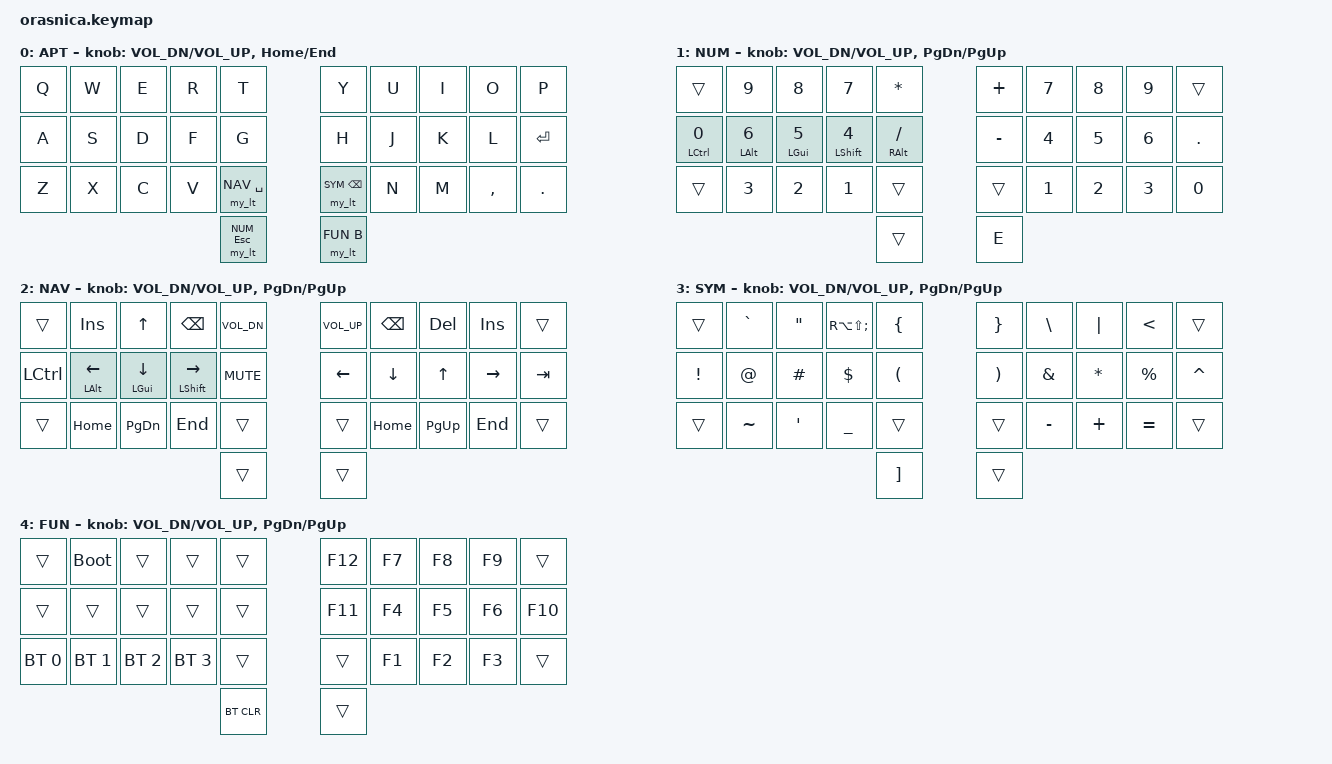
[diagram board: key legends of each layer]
#include <behaviors.dtsi>
#include <dt-bindings/zmk/bt.h>
#include <dt-bindings/zmk/keys.h>

#define APT 0
#define NUM 1
#define NAV 2
#define SYM 3
#define FUN 4

&caps_word { continue-list = <UNDERSCORE MINUS BSPC LSHFT RSHFT>; };

/ {
    macros {
        macro_sch: macro_sch {
            label = "Macro_SCH";
            compatible = "zmk,behavior-macro";
            #binding-cells = <0>;
            bindings = <&macro_tap>, <&kp S &kp C &kp H>;
        };
    };
};

#define COMBO(NAME, BINDINGS, KEYPOS) \
combo_##NAME { \
    timeout-ms = <20>; \
    bindings = <BINDINGS>; \
    key-positions = <KEYPOS>; \
};

/ {
    combos {
        compatible = "zmk,combos";

        COMBO(esc, &kp ESC, 0 1)
        COMBO(tab, &kp TAB, 10 11)
        COMBO(lctrl, &kp LCTRL, 20 21)
        COMBO(lgui, &kp LGUI, 20 30)
    };
};

/ {
    behaviors {
        hl: homerow_mods_left {
            compatible = "zmk,behavior-hold-tap";
            label = "homerow mods left";
            #binding-cells = <2>;

            // flavor = "tap-preferred";

            flavor = "balanced";
            tapping-term-ms = <150>;
            quick-tap-ms = <100>;

            // global-quick-tap;

            bindings = <&kp>, <&kp>;

            // opposite side hand keys

            hold-trigger-key-positions = <5 6 7 8 9 15 16 17 18 19 25 26 27 28 29 30 31>;
        };

        hr: homerow_mods_right {
            compatible = "zmk,behavior-hold-tap";
            label = "homerow mods right";
            #binding-cells = <2>;

            // flavor = "tap-preferred";

            flavor = "balanced";
            tapping-term-ms = <150>;
            quick-tap-ms = <100>;

            // global-quick-tap;

            bindings = <&kp>, <&kp>;

            // opposite side hand keys

            hold-trigger-key-positions = <0 1 2 3 4 10 11 12 13 14 20 21 22 23 24 30 31>;
        };

        my_lt: my_layer_taps {
            compatible = "zmk,behavior-hold-tap";
            label = "my layer taps";
            #binding-cells = <2>;

            // flavor = "tap-preferred";

            flavor = "balanced";
            tapping-term-ms = <150>;
            quick-tap-ms = <100>;

            // global-quick-tap;

            bindings = <&mo &kp>, <&kp>;

            // non-thumb keys
            // hold-trigger-key-positions = <0 1 2 3 4 5 6 7 8 9 10 11 12 13 14 15 16 17 18 19 20 21 22 23 24 25>;
        };

        //   ____________________________  ____________________________
        //  / 0  |  1  |  2  |  3  |  4  \/   5 |   6 |   7 |   8 | 9  \
// | 10  | 11  | 12  | 13  | 14  /\  15 |  16 |  17 |  18 | 19  |
        // | 20  | 21  | 22  | 23  | 24 /  \ 25 |  26 |  27 |  28 | 29  |
        //            \  30  /    		      \  30  /
        //                       ------      ------

        dotcol: dot_colon {
            compatible = "zmk,behavior-mod-morph";
            label = "DOT_COL";
            #binding-cells = <0>;
            bindings = <&kp DOT>, <&kp COLON>;

            mods = <(MOD_LSFT|MOD_RSFT)>;
        };

        comsem: comma_semicolon {
            compatible = "zmk,behavior-mod-morph";
            label = "COM_SEM";
            #binding-cells = <0>;
            bindings = <&kp COMMA>, <&kp SEMI>;

            mods = <(MOD_LSFT|MOD_RSFT)>;
        };
    };
};

&encoder { status = "okay"; };

&encoder2 { status = "okay"; };

/ {
    keymap {
        compatible = "zmk,keymap";

        aptmak {
            label = "APT";
            bindings = <
&kp Q  &kp W  &kp E           &kp R  &kp T             &kp Y                 &kp U  &kp I         &kp O      &kp P
&kp A  &kp S  &kp D           &kp F  &kp G             &kp H                 &kp J  &kp K         &kp L      &kp ENTER
&kp Z  &kp X  &kp C           &kp V  &my_lt NAV SPACE  &my_lt SYM BACKSPACE  &kp N  &kp M         &kp COMMA  &kp PERIOD
              &my_lt NUM ESC                                                        &my_lt FUN B
            >;

            sensor-bindings =
                <&inc_dec_kp C_VOL_DN C_VOL_UP>,
                <&inc_dec_kp HOME END>;
        };

        numbers {
            label = "NUM";
            bindings = <
&trans        &kp N9       &kp N8       &kp N7        &kp ASTERISK    &kp PLUS   &kp N7  &kp N8  &kp N9  &trans
&hl LCTRL N0  &hl LALT N6  &hl LGUI N5  &hl LSHFT N4  &hl RALT SLASH  &kp MINUS  &kp N4  &kp N5  &kp N6  &kp DOT
&trans        &kp N3       &kp N2       &kp N1        &trans          &trans     &kp N1  &kp N2  &kp N3  &kp N0
                           &trans                                                        &kp E
            >;

            sensor-bindings = <
				&inc_dec_kp C_VOL_DN C_VOL_UP
				&inc_dec_kp PAGE_DOWN PAGE_UP
            >;
        };

        navigation {
            label = "NAV";
            bindings = <
&trans     &kp INSERT     &kp UP         &kp BSPC         &kp C_VOL_DN  &kp C_VOL_UP  &kp BSPC  &kp DEL    &kp INSERT  &trans
&kp LCTRL  &hl LALT LEFT  &hl LGUI DOWN  &hl LSHFT RIGHT  &kp C_MUTE    &kp LEFT      &kp DOWN  &kp UP     &kp RIGHT   &kp TAB
&trans     &kp HOME       &kp PG_DN      &kp END          &trans        &trans        &kp HOME  &kp PG_UP  &kp END     &trans
                          &trans                                                                &trans
            >;

            sensor-bindings = <
				&inc_dec_kp C_VOL_DN C_VOL_UP
				&inc_dec_kp PAGE_DOWN PAGE_UP
            >;
        };

        symbols {
            label = "SYM";
            bindings = <
&trans    &kp GRAVE  &kp DQT   &kp RA(LS(SEMI))  &kp LBRC  &kp RBRC  &kp BACKSLASH  &kp PIPE      &kp LT       &trans
&kp EXCL  &kp AT     &kp HASH  &kp DOLLAR        &kp LPAR  &kp RPAR  &kp AMPERSAND  &kp ASTERISK  &kp PERCENT  &kp CARET
&trans    &kp TILDE  &kp SQT   &kp UNDERSCORE    &trans    &trans    &kp MINUS      &kp PLUS      &kp EQUAL    &trans
                     &kp RBKT                                                       &trans
            >;

            sensor-bindings = <
				&inc_dec_kp C_VOL_DN C_VOL_UP
				&inc_dec_kp PAGE_DOWN PAGE_UP
            >;
        };

        function {
            label = "FUN";
            bindings = <
&trans        &bootloader   &trans        &trans        &trans  &kp F12  &kp F7  &kp F8  &kp F9  &trans
&trans        &trans        &trans        &trans        &trans  &kp F11  &kp F4  &kp F5  &kp F6  &kp F10
&bt BT_SEL 0  &bt BT_SEL 1  &bt BT_SEL 2  &bt BT_SEL 3  &trans  &trans   &kp F1  &kp F2  &kp F3  &trans
                            &bt BT_CLR                                           &trans
            >;

            sensor-bindings = <
				&inc_dec_kp C_VOL_DN C_VOL_UP
				&inc_dec_kp PAGE_DOWN PAGE_UP
            >;
        };
    };
};
